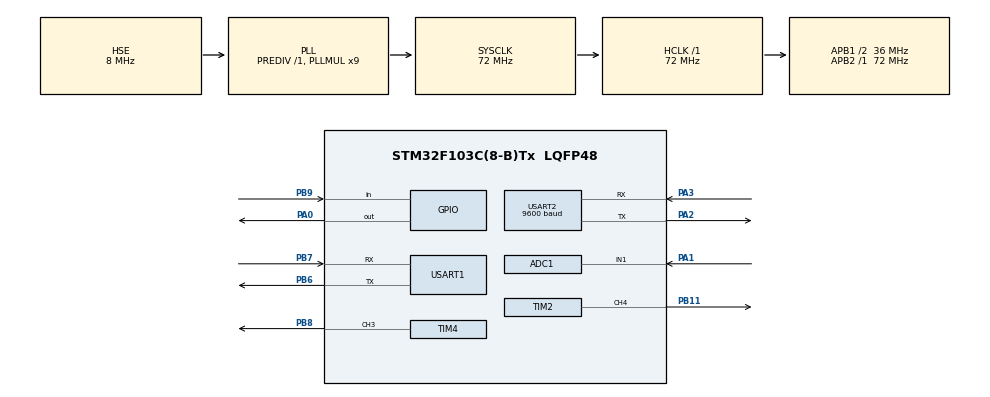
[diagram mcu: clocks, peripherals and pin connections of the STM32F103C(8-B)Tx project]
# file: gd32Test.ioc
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ADC1.Channel-0\#ChannelRegularConversion=ADC_CHANNEL_1
ADC1.NbrOfConversionFlag=1
ADC1.Rank-0\#ChannelRegularConversion=1
ADC1.SamplingTime-0\#ChannelRegularConversion=ADC_SAMPLETIME_1CYCLE_5
ADC1.master=1
Mcu.Family=STM32F1
Mcu.Name=STM32F103C(8-B)Tx
Mcu.Package=LQFP48
NVIC.PriorityGroup=NVIC_PRIORITYGROUP_4
NVIC.USART1_IRQn=true\:11\:0\:true\:false\:true\:true\:true\:true
NVIC.USART2_IRQn=true\:10\:0\:true\:false\:true\:true\:true\:true
PA0-WKUP.GPIO_Speed=GPIO_SPEED_FREQ_MEDIUM
PA0-WKUP.PinState=GPIO_PIN_RESET
PA0-WKUP.Signal=GPIO_Output
PA1.Signal=ADCx_IN1
PA2.Mode=Asynchronous
PA2.Signal=USART2_TX
PA3.Mode=Asynchronous
PA3.Signal=USART2_RX
PB11.Signal=S_TIM2_CH4
PB6.Mode=Asynchronous
PB6.Signal=USART1_TX
PB7.Mode=Asynchronous
PB7.Signal=USART1_RX
PB8.Signal=S_TIM4_CH3
PB9.Signal=GPIO_Input
PD0-OSC_IN.Mode=HSE-External-Oscillator
PD0-OSC_IN.Signal=RCC_OSC_IN
PD1-OSC_OUT.Mode=HSE-External-Oscillator
PD1-OSC_OUT.Signal=RCC_OSC_OUT
ProjectManager.HeapSize=0x200
ProjectManager.StackSize=0x400
ProjectManager.TargetToolchain=MDK-ARM V5
RCC.ADCPresc=RCC_ADCPCLK2_DIV6
RCC.AHBFreq_Value=72000000
RCC.APB1CLKDivider=RCC_HCLK_DIV2
RCC.APB1Freq_Value=36000000
RCC.APB1TimFreq_Value=72000000
RCC.APB2Freq_Value=72000000
RCC.APB2TimFreq_Value=72000000
RCC.HCLKFreq_Value=72000000
RCC.PLLMUL=RCC_PLL_MUL9
RCC.PLLSourceVirtual=RCC_PLLSOURCE_HSE
RCC.SYSCLKFreq_VALUE=72000000
RCC.SYSCLKSource=RCC_SYSCLKSOURCE_PLLCLK
RCC.USBFreq_Value=72000000
SH.ADCx_IN1.0=ADC1_IN1,IN1
SH.S_TIM2_CH4.0=TIM2_CH4,PWM Generation4 CH4
SH.S_TIM4_CH3.0=TIM4_CH3,PWM Generation3 CH3
TIM1.CounterMode=TIM_COUNTERMODE_DOWN
TIM1.Prescaler=71
TIM2.AutoReloadPreload=TIM_AUTORELOAD_PRELOAD_ENABLE
TIM2.Channel-PWM\ Generation4\ CH4=TIM_CHANNEL_4
TIM2.OCPolarity_4=TIM_OCPOLARITY_LOW
TIM2.Period=99
TIM2.Prescaler=7199
TIM2.Pulse-PWM\ Generation4\ CH4=99
TIM4.AutoReloadPreload=TIM_AUTORELOAD_PRELOAD_ENABLE
TIM4.Channel-PWM\ Generation3\ CH3=TIM_CHANNEL_3
TIM4.OCFastMode_PWM-PWM\ Generation3\ CH3=TIM_OCFAST_ENABLE
TIM4.OCPolarity_3=TIM_OCPOLARITY_LOW
TIM4.Period=199
TIM4.Prescaler=7199
TIM4.Pulse-PWM\ Generation3\ CH3=185
USART1.VirtualMode=VM_ASYNC
USART2.BaudRate=9600
USART2.VirtualMode=VM_ASYNC
VP_SYS_VS_ND.Mode=No_Debug
VP_TIM1_VS_ClockSourceINT.Mode=Internal
VP_TIM2_VS_ClockSourceINT.Mode=Internal
VP_TIM4_VS_ClockSourceINT.Mode=Internal
board=custom

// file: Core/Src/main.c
/* USER CODE BEGIN Header */
/**
	******************************************************************************
	* @file           : main.c
	* @brief          : Main program body
	******************************************************************************
	* @attention
	*
	* Copyright (c) 2023 STMicroelectronics.
	* All rights reserved.
	*
	* This software is licensed under terms that can be found in the LICENSE file
	* in the root directory of this software component.
	* If no LICENSE file comes with this software, it is provided AS-IS.
	*
	******************************************************************************
	*/
/* USER CODE END Header */
#include "main.h"
#include "adc.h"
#include "tim.h"
#include "usart.h"
#include "gpio.h"

/* USER CODE BEGIN Includes */
#include <stdio.h>
#include <string.h>
#include "DHT11.h"
#include "command.h"
/* USER CODE END Includes */

/* USER CODE BEGIN PM */
extern char rxbuf[6];
extern uint8_t dht_data[5];
/* USER CODE END PM */

void SystemClock_Config(void);

int main(void)
{

  /* MCU Configuration--------------------------------------------------------*/

  /* Reset of all peripherals, Initializes the Flash interface and the Systick. */
  HAL_Init();

  /* Configure the system clock */
  SystemClock_Config();

  /* Initialize all configured peripherals */
  MX_GPIO_Init();
  MX_USART1_UART_Init();
  MX_ADC1_Init();
  MX_TIM4_Init();
  MX_TIM1_Init();
  MX_USART2_UART_Init();
  MX_TIM2_Init();
  /* USER CODE BEGIN 2 */

	HAL_UART_Receive_IT(&huart1,(uint8_t*)rxbuf, sizeof(rxbuf));//调试
	HAL_UART_Receive_IT(&huart2,(uint8_t*)rxbuf, sizeof(rxbuf));//接受ESP8266消息,触发回调
  /* USER CODE END 2 */

  /* Infinite loop */
  /* USER CODE BEGIN WHILE */
	while (1)
	{
		char buf_esp[8]="00;00;00";
		uint8_t light=getLightADC();	//光照值读�???0-100

		if(DHT_read())					//温湿度读�???
		{								// 湿度;温度;光照
      uint16_t len=sprintf(buf_esp,"%2d;%2d;%2d",dht_data[0],dht_data[2],light);

      HAL_UART_Transmit(&huart1,(uint8_t*)buf_esp,len,1000);//调试,串口1(电脑)
      HAL_UART_Transmit(&huart2,(uint8_t*)buf_esp,len,1000);//发给ESP8266
      environmentControl(dht_data[2],light);	//传入当前环境参数  控制外设
    }
    /* USER CODE END WHILE */

    /* USER CODE BEGIN 3 */
		delay_ms(3000);

	}
  /* USER CODE END 3 */
}

void SystemClock_Config(void)
{
  RCC_OscInitTypeDef RCC_OscInitStruct = {0};
  RCC_ClkInitTypeDef RCC_ClkInitStruct = {0};
  RCC_PeriphCLKInitTypeDef PeriphClkInit = {0};

  /** Initializes the RCC Oscillators according to the specified parameters
  * in the RCC_OscInitTypeDef structure.
  */
  RCC_OscInitStruct.OscillatorType = RCC_OSCILLATORTYPE_HSE;
  RCC_OscInitStruct.HSEState = RCC_HSE_ON;
  RCC_OscInitStruct.HSEPredivValue = RCC_HSE_PREDIV_DIV1;
  RCC_OscInitStruct.HSIState = RCC_HSI_ON;
  RCC_OscInitStruct.PLL.PLLState = RCC_PLL_ON;
  RCC_OscInitStruct.PLL.PLLSource = RCC_PLLSOURCE_HSE;
  RCC_OscInitStruct.PLL.PLLMUL = RCC_PLL_MUL9;
  if (HAL_RCC_OscConfig(&RCC_OscInitStruct) != HAL_OK)
  {
    Error_Handler();
  }

  /** Initializes the CPU, AHB and APB buses clocks
  */
  RCC_ClkInitStruct.ClockType = RCC_CLOCKTYPE_HCLK|RCC_CLOCKTYPE_SYSCLK
                              |RCC_CLOCKTYPE_PCLK1|RCC_CLOCKTYPE_PCLK2;
  RCC_ClkInitStruct.SYSCLKSource = RCC_SYSCLKSOURCE_PLLCLK;
  RCC_ClkInitStruct.AHBCLKDivider = RCC_SYSCLK_DIV1;
  RCC_ClkInitStruct.APB1CLKDivider = RCC_HCLK_DIV2;
  RCC_ClkInitStruct.APB2CLKDivider = RCC_HCLK_DIV1;

  if (HAL_RCC_ClockConfig(&RCC_ClkInitStruct, FLASH_LATENCY_2) != HAL_OK)
  {
    Error_Handler();
  }
  PeriphClkInit.PeriphClockSelection = RCC_PERIPHCLK_ADC;
  PeriphClkInit.AdcClockSelection = RCC_ADCPCLK2_DIV6;
  if (HAL_RCCEx_PeriphCLKConfig(&PeriphClkInit) != HAL_OK)
  {
    Error_Handler();
  }
}

void Error_Handler(void)
{
	__disable_irq();
	while (1)
	{
	}
}
